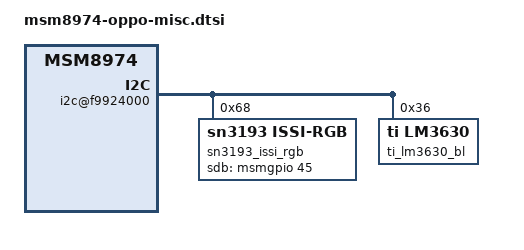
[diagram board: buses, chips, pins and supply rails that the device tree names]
/* Copyright (c) 2012-2013, The Linux Foundation. All rights reserved.
 *
 * This program is free software; you can redistribute it and/or modify
 * it under the terms of the GNU General Public License version 2 and
 * only version 2 as published by the Free Software Foundation.
 *
 * This program is distributed in the hope that it will be useful,
 * but WITHOUT ANY WARRANTY; without even the implied warranty of
 * MERCHANTABILITY or FITNESS FOR A PARTICULAR PURPOSE.  See the
 * GNU General Public License for more details.
 */

&soc {
	i2c@f9924000 {
		sn3193_issi_rgb@68 {
			compatible = "sn3193,issi-rgb";
			reg = <0x68>;
			sn3193,sdb-gpio = <&msmgpio 45 0x00>;
		};
		ti_lm3630_bl@36 {
			compatible = "ti,lm3630";
			reg = <0x36>;
			ti,bank-a-ctrl = <0x05>;
			ti,init-brt-ed1 = <80>;
			ti,init-brt-led2 = <80>;
			ti,max-brt-led1 = <255>;
			ti,max-brt-led2 = <255>;
			ti,pwm-active = <0>;
			ti,pwm-ctrl = <0>;
			ti,pwm-period = <255>;
		};
	};
};

&pm8941_lsid1 {
	qcom,vibrator@c000 {
		qcom,vib-timeout-ms = <15000>;
		qcom,vib-vtg-level-mV = <3100>;
		qcom,vib-vtg-min-mV = <1900>;
		status = "okay";
	};
};
